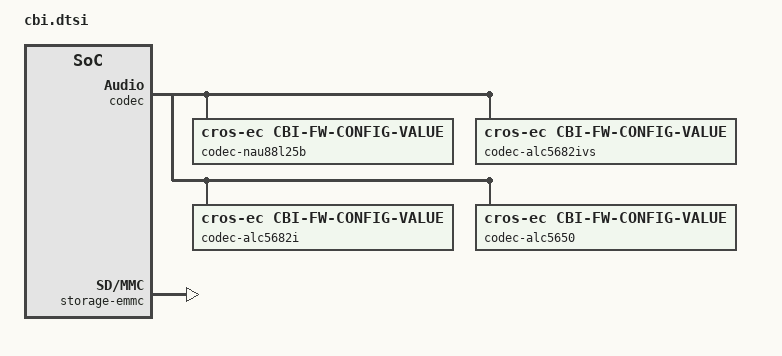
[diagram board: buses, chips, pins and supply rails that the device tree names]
/* Copyright 2026 The ChromiumOS Authors
 * Use of this source code is governed by a BSD-style license that can be
 * found in the LICENSE file.
 */

/ {
	jaina-fw-config {
		compatible = "cros-ec,cbi-fw-config";

		touchpad {
			enum-name = "TOUCHPAD";
			start = <0>;
			size = <1>;

			touchpad-11 {
				compatible = "cros-ec,cbi-fw-config-value";
				enum-name = "TOUCHPAD_11";
				value = <0>;
			};
			touchpad-14 {
				compatible = "cros-ec,cbi-fw-config-value";
				enum-name = "TOUCHPAD_14";
				value = <1>;
			};
		};
		touchscreen {
			enum-name = "TOUCHSCREEN";
			start = <1>;
			size = <1>;

			non-touchscreen {
				compatible = "cros-ec,cbi-fw-config-value";
				enum-name = "NON_TOUCHSCREEN";
				value = <0>;
			};
			touch {
				compatible = "cros-ec,cbi-fw-config-value";
				enum-name = "TOUCH";
				value = <1>;
			};
		};
		db-cellular {
			enum-name = "DB_CELLULAR";
			start = <2>;
			size = <2>;

			cellular-absent {
				compatible = "cros-ec,cbi-fw-config-value";
				enum-name = "CELLULAR_ABSENT";
				value = <0>;
			};
			cellular-rw135-gl {
				compatible = "cros-ec,cbi-fw-config-value";
				enum-name = "CELLULAR_RW135_GL";
				value = <1>;
			};
		};
		stylus {
			enum-name = "FW_STYLUS";
			start = <4>;
			size = <1>;

			stylus-absent {
				compatible = "cros-ec,cbi-fw-config-value";
				enum-name = "FW_STYLUS_ABSENT";
				value = <0>;
			};
			stylus-present {
				compatible = "cros-ec,cbi-fw-config-value";
				enum-name = "FW_STYLUS_PRESENT";
				value = <1>;
			};
		};
		kb-matrix {
			enum-name = "KB_MATRIX";
			start = <5>;
			size = <2>;

			US {
				compatible = "cros-ec,cbi-fw-config-value";
				enum-name = "US";
				value = <0>;
			};
			JP {
				compatible = "cros-ec,cbi-fw-config-value";
				enum-name = "JP";
				value = <1>;
			};
			UK {
				compatible = "cros-ec,cbi-fw-config-value";
				enum-name = "UK";
				value = <2>;
			};
		};
		codec {
			enum-name = "CODEC";
			start = <22>;
			size = <3>;

			codec-nau88l25b {
				compatible = "cros-ec,cbi-fw-config-value";
				enum-name = "CODEC_NAU88L25B";
				value = <0>;
			};
			codec-alc5682ivs {
				compatible = "cros-ec,cbi-fw-config-value";
				enum-name = "CODEC_ALC5682IVS";
				value = <1>;
			};
			codec-alc5682i {
				compatible = "cros-ec,cbi-fw-config-value";
				enum-name = "CODEC_ALC5682I";
				value = <2>;
			};
			codec-alc5650 {
				compatible = "cros-ec,cbi-fw-config-value";
				enum-name = "CODEC_ALC5650";
				value = <3>;
			};
		};
		amp {
			enum-name = "AMP";
			start = <25>;
			size = <3>;

			amp-rt9123 {
				compatible = "cros-ec,cbi-fw-config-value";
				enum-name = "AMP_RT9123";
				value = <0>;
			};
			amp-alc0109 {
				compatible = "cros-ec,cbi-fw-config-value";
				enum-name = "AMP_ALC0109";
				value = <1>;
			};
			amp-aw88081 {
				compatible = "cros-ec,cbi-fw-config-value";
				enum-name = "AMP_AW88081";
				value = <2>;
			};
			amp-alc5650 {
				compatible = "cros-ec,cbi-fw-config-value";
				enum-name = "AMP_ALC5650";
				value = <3>;
			};
		};
		form-factor {
			enum-name = "FORM_FACTOR";
			start = <28>;
			size = <2>;

			convertible {
				compatible = "cros-ec,cbi-fw-config-value";
				enum-name = "CONVERTIBLE";
				value = <0>;
			};
			clamshell {
				compatible = "cros-ec,cbi-fw-config-value";
				enum-name = "CLAMSHELL";
				value = <1>;
			};
		};
		storage {
			enum-name = "STORAGE";
			start = <30>;
			size = <2>;

			storage-ufs3x {
				compatible = "cros-ec,cbi-fw-config-value";
				enum-name = "STORAGE_UFS3X";
				value = <0>;
			};
			storage-ufs2x {
				compatible = "cros-ec,cbi-fw-config-value";
				enum-name = "STORAGE_UFS2X";
				value = <1>;
			};
			storage-emmc {
				compatible = "cros-ec,cbi-fw-config-value";
				enum-name = "STORAGE_EMMC";
				value = <2>;
			};
		};
	};
};
